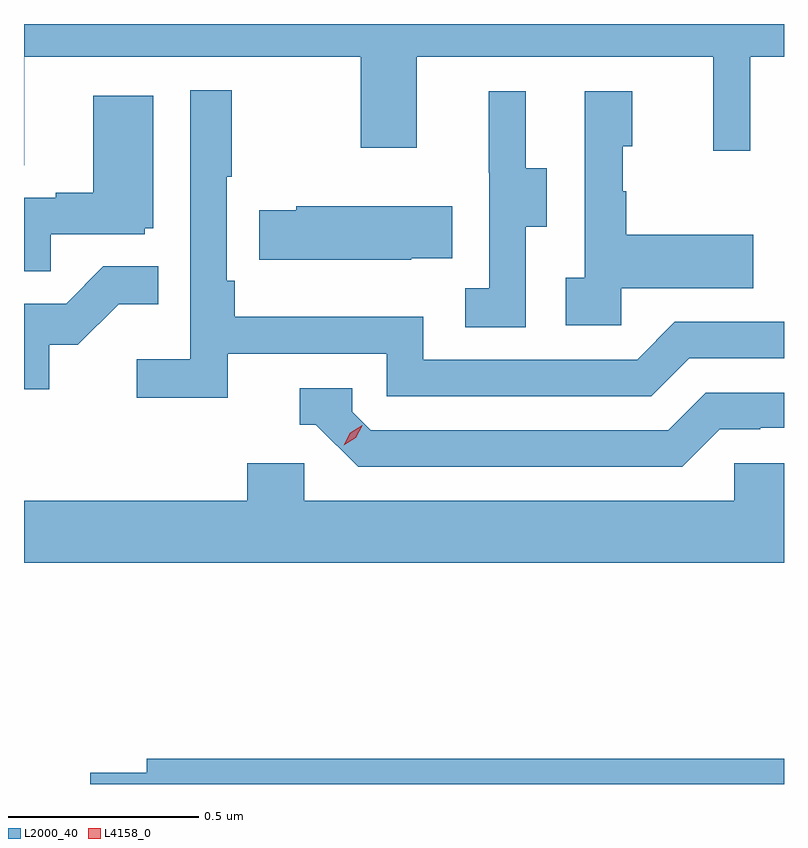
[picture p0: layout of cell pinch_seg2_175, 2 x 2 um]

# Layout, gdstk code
import gdstk
lib = gdstk.Library(unit=1e-6, precision=1e-09)
def P(c, l, *ps):  # polygons
    for p in ps: c.add(gdstk.Polygon(p, *l))
L2000_40 = (2000, 40)
L4158_0 = (4158, 0)

pinch_seg2_175 = lib.new_cell('pinch_seg2_175')
P(pinch_seg2_175, L2000_40, [(1082.467,630.32),(1083.352,630.32),(1083.352,630.081),(1083.499,630.081),(1083.499,630.32),(1084.28,630.32),(1084.28,630.072),(1084.377,630.072),(1084.377,630.32),(1084.466,630.32),(1084.466,630.406),(1082.466,630.406),(1082.466,630.034),(1082.467,630.034)],
  [(1083.002,629.538),(1083.42,629.538),(1083.42,629.427),(1084.117,629.427),(1084.216,629.526),(1084.466,629.526),(1084.466,629.622),(1084.179,629.622),(1084.08,629.523),(1083.516,629.523),(1083.516,629.635),(1083.02,629.635),(1083.02,629.731),(1083,629.731),(1083,630.004),(1083.013,630.004),(1083.013,630.232),(1082.904,630.232),(1082.904,629.524),(1082.763,629.524),(1082.763,629.422),(1083.002,629.422)],
  [(1084.038,629.711),(1084.385,629.711),(1084.385,629.851),(1084.051,629.851),(1084.051,629.966),(1084.041,629.966),(1084.041,630.084),(1084.066,630.084),(1084.066,630.229),(1083.942,630.229),(1083.942,629.738),(1083.891,629.738),(1083.891,629.613),(1084.038,629.613)],
  [(1083.786,629.872),(1083.841,629.872),(1083.841,630.027),(1083.787,630.027),(1083.787,630.229),(1083.689,630.229),(1083.689,630.015),(1083.69,630.015),(1083.69,629.711),(1083.627,629.711),(1083.627,629.608),(1083.786,629.608)],
  [(1082.537,629.853),(1082.784,629.853),(1082.784,629.868),(1082.806,629.868),(1082.806,630.217),(1082.648,630.217),(1082.648,629.962),(1082.549,629.962),(1082.549,629.949),(1082.466,629.949),(1082.466,629.755),(1082.537,629.755)],
  [(1083.485,629.789),(1083.593,629.789),(1083.593,629.926),(1083.183,629.926),(1083.183,629.916),(1083.085,629.916),(1083.085,629.786),(1083.485,629.786)],
  [(1082.532,629.562),(1082.608,629.562),(1082.715,629.669),(1082.819,629.669),(1082.819,629.768),(1082.675,629.768),(1082.577,629.67),(1082.466,629.67),(1082.466,629.445),(1082.532,629.445)],
  [(1084.297,629.34),(1084.404,629.34),(1084.404,629.343),(1084.466,629.343),(1084.466,629.436),(1084.26,629.436),(1084.161,629.337),(1083.378,629.337),(1083.33,629.385),(1083.33,629.448),(1083.191,629.448),(1083.191,629.352),(1083.234,629.352),(1083.345,629.241),(1084.198,629.241)],
  [(1084.466,629.25),(1084.335,629.25),(1084.335,629.152),(1083.204,629.152),(1083.204,629.25),(1083.053,629.25),(1083.053,629.152),(1082.466,629.152),(1082.466,628.988),(1084.466,628.988)],
  [(1084.466,628.472),(1082.789,628.472),(1082.789,628.436),(1082.64,628.436),(1082.64,628.406),(1084.466,628.406)])
P(pinch_seg2_175, L4158_0, [(1083.308,629.298),(1083.308,629.298),(1083.325,629.33),(1083.356,629.35),(1083.356,629.35),(1083.356,629.349),(1083.339,629.317),(1083.308,629.298)])

lib.write_gds('pinch_seg2_175.gds')
